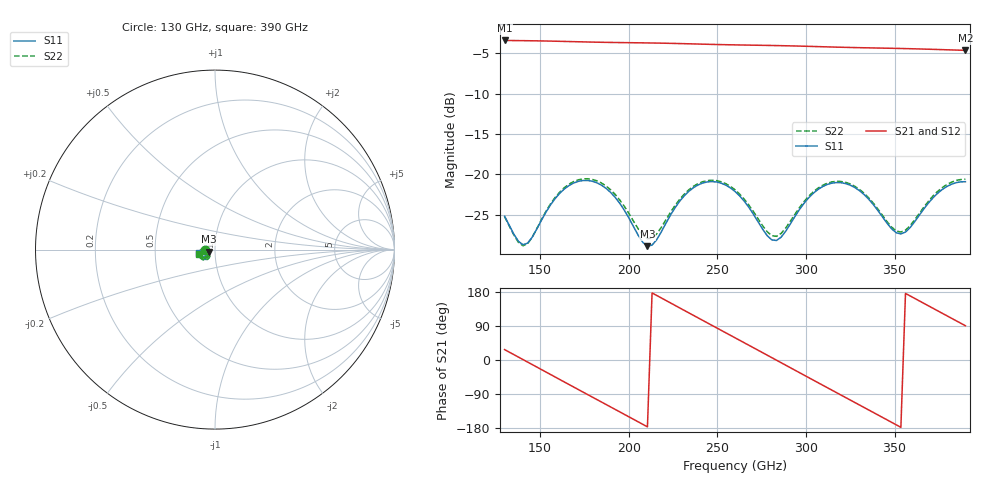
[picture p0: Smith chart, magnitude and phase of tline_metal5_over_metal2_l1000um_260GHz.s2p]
#  GHZ S DB R 50
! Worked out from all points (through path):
!   101 points, 130 GHz to 390 GHz, reference 50 ohm
!   highest |S21| = -3.42 dB at 130 GHz (marker M1); lowest = -4.6 dB at 390 GHz (marker M2)
!   group delay of S21, straight-line fit = 7.02 ps
!   lowest |S11| = -28.9 dB at 210.6 GHz (marker M3), VSWR 1.07, Z = 46.7 - j1.02 ohm
!   |S11| at or under -10 dB: start of sweep to end of sweep
!   |S22| runs from -28.8 to -20.5 dB; largest |S21 - S12| = 1.1e-13
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130  -25.18 -176.8  -3.42 27.4  -3.42 27.4  -25.22 -175.9
140.4  -28.71 -154.2  -3.44 1.1  -3.44 1.1  -28.83 -152.0
150.8  -25.66 -128.8  -3.47 -25.3  -3.47 -25.3  -25.58 -125.9
163.8  -21.78 -137.9  -3.54 -58.2  -3.54 -58.2  -21.62 -135.1
174.2  -20.75 -154.0  -3.59 -84.5  -3.59 -84.5  -20.55 -151.1
189.8  -22.22 -177.7  -3.66 -123.9  -3.66 -123.9  -21.90 -174.1
200.2  -25.42 175.8  -3.69 -150.1  -3.69 -150.1  -24.86 179.7
210.6  -28.88 -162.3  -3.72 -176.4  -3.72 -176.4  -27.95 -161.2
218.4  -27.11 -138.4  -3.75 163.8  -3.75 163.8  -26.55 -139.8
239.2  -21.30 -149.3  -3.86 111.1  -3.86 111.1  -21.13 -148.6
249.6  -20.93 -165.0  -3.92 84.9  -3.92 84.9  -20.77 -163.6
260  -22.11 -179.3  -3.96 58.7  -3.96 58.7  -21.90 -177.3
273  -25.85 175.5  -4.01 25.9  -4.01 25.9  -25.48 178.0
283.4  -28.18 -160.0  -4.05 -0.5  -4.05 -0.5  -27.66 -159.0
304.2  -22.32 -145.7  -4.16 -53.1  -4.16 -53.1  -22.15 -144.6
314.6  -21.08 -158.9  -4.23 -79.4  -4.23 -79.4  -20.93 -157.3
325  -21.33 -173.2  -4.28 -105.6  -4.28 -105.6  -21.18 -171.2
348.4  -26.74 -177.6  -4.39 -164.6  -4.39 -164.6  -26.53 -174.7
356.2  -27.13 -157.9  -4.42 175.7  -4.42 175.7  -26.90 -154.9
366.6  -24.26 -145.4  -4.48 149.4  -4.48 149.4  -24.04 -142.1
379.6  -21.49 -154.8  -4.57 116.6  -4.57 116.6  -21.24 -150.9
390  -20.90 -168.4  -4.64 90.4  -4.64 90.4  -20.59 -163.8
